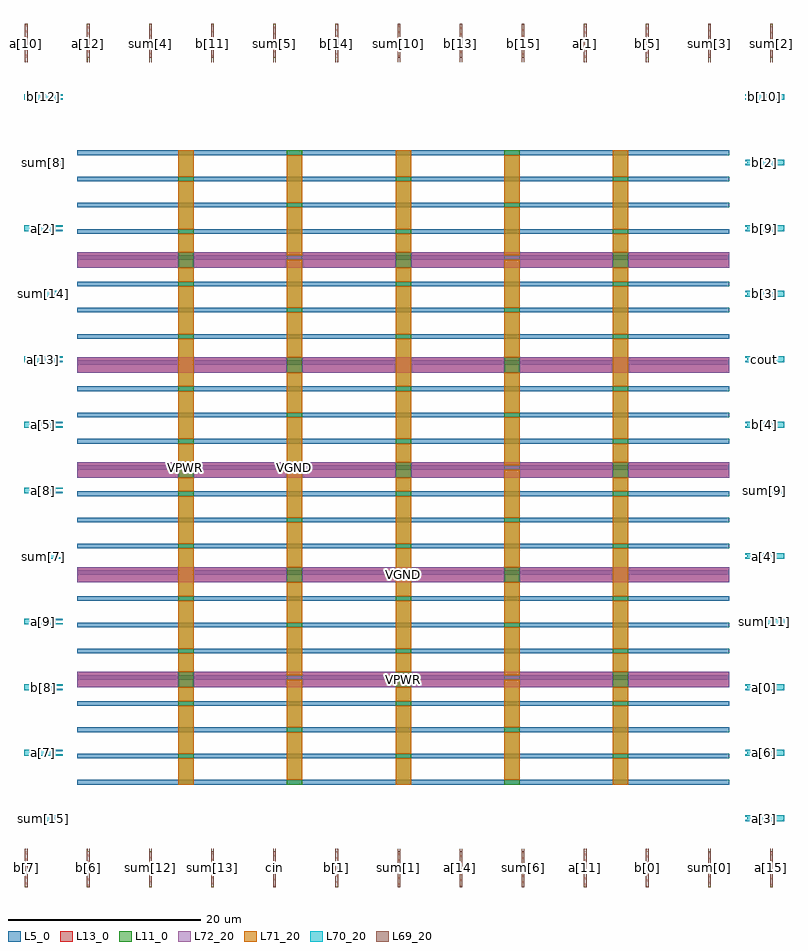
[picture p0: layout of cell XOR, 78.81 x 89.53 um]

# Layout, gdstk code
import gdstk
lib = gdstk.Library(unit=1e-6, precision=1e-09)
def R(c, l, rs):  # rectangles x0, y0, x1, y1
    for r in rs: c.add(gdstk.rectangle(r[:2], r[2:], *l))
def A(c, l, x, y, w, h, nx, ny, dx, dy):  # array of equal rectangles
    R(c, l, [(x+i*dx, y+j*dy, x+i*dx+w, y+j*dy+h) for i in range(nx) for j in range(ny)])
def P(c, l, *ps):  # polygons
    for p in ps: c.add(gdstk.Polygon(p, *l))
L5_0 = (5, 0)
L11_0 = (11, 0)
L13_0 = (13, 0)
L69_20 = (69, 20)
L70_20 = (70, 20)
L71_20 = (71, 20)
L72_20 = (72, 20)

xor = lib.new_cell('XOR')
P(xor, L69_20, [(0.09,0),(0.09,4),(0.16,4),(0.16,3.74),(0.3,3.74),(0.3,4),(0.37,4),(0.37,0)],
  [(6.53,0),(6.53,4),(6.6,4),(6.6,3.74),(6.74,3.74),(6.74,4),(6.81,4),(6.81,0)],
  [(12.97,0),(12.97,4),(13.04,4),(13.04,3.74),(13.18,3.74),(13.18,4),(13.25,4),(13.25,0)],
  [(19.41,0),(19.41,4),(19.48,4),(19.48,3.74),(19.62,3.74),(19.62,4),(19.69,4),(19.69,0)],
  [(25.85,0),(25.85,4),(25.92,4),(25.92,3.74),(26.06,3.74),(26.06,4),(26.13,4),(26.13,0)],
  [(32.29,0),(32.29,4),(32.36,4),(32.36,3.74),(32.5,3.74),(32.5,4),(32.57,4),(32.57,0)],
  [(38.73,0),(38.73,4),(38.8,4),(38.8,3.74),(38.94,3.74),(38.94,4),(39.01,4),(39.01,0)],
  [(45.17,0),(45.17,4),(45.24,4),(45.24,3.74),(45.38,3.74),(45.38,4),(45.45,4),(45.45,0)],
  [(51.61,0),(51.61,4),(51.68,4),(51.68,3.74),(51.82,3.74),(51.82,4),(51.89,4),(51.89,0)],
  [(58.05,0),(58.05,4),(58.12,4),(58.12,3.74),(58.26,3.74),(58.26,4),(58.33,4),(58.33,0)],
  [(64.49,0),(64.49,4),(64.56,4),(64.56,3.74),(64.7,3.74),(64.7,4),(64.77,4),(64.77,0)],
  [(70.93,0),(70.93,4),(71,4),(71,3.74),(71.14,3.74),(71.14,4),(71.21,4),(71.21,0)],
  [(77.37,0),(77.37,4),(77.44,4),(77.44,3.74),(77.58,3.74),(77.58,4),(77.65,4),(77.65,0)],
  [(0.09,85.525),(0.09,89.525),(0.37,89.525),(0.37,85.525),(0.3,85.525),(0.3,86.02),(0.16,86.02),(0.16,85.525)],
  [(6.53,85.525),(6.53,89.525),(6.81,89.525),(6.81,85.525),(6.74,85.525),(6.74,86.02),(6.6,86.02),(6.6,85.525)],
  [(12.97,85.525),(12.97,89.525),(13.25,89.525),(13.25,85.525),(13.18,85.525),(13.18,86.02),(13.04,86.02),(13.04,85.525)],
  [(19.41,85.525),(19.41,89.525),(19.69,89.525),(19.69,85.525),(19.62,85.525),(19.62,86.02),(19.48,86.02),(19.48,85.525)],
  [(25.85,85.525),(25.85,89.525),(26.13,89.525),(26.13,85.525),(26.06,85.525),(26.06,86.02),(25.92,86.02),(25.92,85.525)],
  [(32.29,85.525),(32.29,89.525),(32.57,89.525),(32.57,85.525),(32.5,85.525),(32.5,86.02),(32.36,86.02),(32.36,85.525)],
  [(38.73,85.525),(38.73,89.525),(39.01,89.525),(39.01,85.525),(38.94,85.525),(38.94,86.02),(38.8,86.02),(38.8,85.525)],
  [(45.17,85.525),(45.17,89.525),(45.45,89.525),(45.45,85.525),(45.38,85.525),(45.38,86.02),(45.24,86.02),(45.24,85.525)],
  [(51.61,85.525),(51.61,89.525),(51.89,89.525),(51.89,85.525),(51.82,85.525),(51.82,86.02),(51.68,86.02),(51.68,85.525)],
  [(58.05,85.525),(58.05,89.525),(58.33,89.525),(58.33,85.525),(58.26,85.525),(58.26,86.02),(58.12,86.02),(58.12,85.525)],
  [(64.49,85.525),(64.49,89.525),(64.77,89.525),(64.77,85.525),(64.7,85.525),(64.7,86.02),(64.56,86.02),(64.56,85.525)],
  [(70.93,85.525),(70.93,89.525),(71.21,89.525),(71.21,85.525),(71.14,85.525),(71.14,86.02),(71,86.02),(71,85.525)],
  [(77.37,85.525),(77.37,89.525),(77.65,89.525),(77.65,85.525),(77.58,85.525),(77.58,86.02),(77.44,86.02),(77.44,85.525)])
P(xor, L70_20, [(0,6.84),(0,7.44),(4,7.44),(4,7.29),(3.22,7.29),(3.22,6.99),(4,6.99),(4,6.84)],
  [(74.805,6.84),(74.805,6.99),(74.98,6.99),(74.98,7.29),(74.805,7.29),(74.805,7.44),(78.805,7.44),(78.805,6.84)],
  [(0,13.64),(0,14.24),(4,14.24),(4,14.09),(3.22,14.09),(3.22,13.79),(4,13.79),(4,13.64)],
  [(74.805,13.64),(74.805,13.79),(74.98,13.79),(74.98,14.09),(74.805,14.09),(74.805,14.24),(78.805,14.24),(78.805,13.64)],
  [(0,20.44),(0,21.04),(4,21.04),(4,20.89),(3.22,20.89),(3.22,20.59),(4,20.59),(4,20.44)],
  [(74.805,20.44),(74.805,20.59),(74.98,20.59),(74.98,20.89),(74.805,20.89),(74.805,21.04),(78.805,21.04),(78.805,20.44)],
  [(0,27.24),(0,27.84),(4,27.84),(4,27.69),(3.22,27.69),(3.22,27.39),(4,27.39),(4,27.24)],
  [(74.805,27.24),(74.805,27.39),(74.98,27.39),(74.98,27.69),(74.805,27.69),(74.805,27.84),(78.805,27.84),(78.805,27.24)],
  [(0,34.04),(0,34.64),(4,34.64),(4,34.49),(3.22,34.49),(3.22,34.19),(4,34.19),(4,34.04)],
  [(74.805,34.04),(74.805,34.19),(74.98,34.19),(74.98,34.49),(74.805,34.49),(74.805,34.64),(78.805,34.64),(78.805,34.04)],
  [(0,40.84),(0,41.44),(4,41.44),(4,41.29),(3.22,41.29),(3.22,40.99),(4,40.99),(4,40.84)],
  [(74.805,40.84),(74.805,40.99),(74.98,40.99),(74.98,41.29),(74.805,41.29),(74.805,41.44),(78.805,41.44),(78.805,40.84)],
  [(0,47.64),(0,48.24),(4,48.24),(4,48.09),(3.22,48.09),(3.22,47.79),(4,47.79),(4,47.64)],
  [(74.805,47.64),(74.805,47.79),(74.98,47.79),(74.98,48.09),(74.805,48.09),(74.805,48.24),(78.805,48.24),(78.805,47.64)],
  [(0,54.44),(0,55.04),(4,55.04),(4,54.89),(3.22,54.89),(3.22,54.59),(4,54.59),(4,54.44)],
  [(74.805,54.44),(74.805,54.59),(74.98,54.59),(74.98,54.89),(74.805,54.89),(74.805,55.04),(78.805,55.04),(78.805,54.44)],
  [(0,61.24),(0,61.84),(4,61.84),(4,61.69),(3.22,61.69),(3.22,61.39),(4,61.39),(4,61.24)],
  [(74.805,61.24),(74.805,61.39),(74.98,61.39),(74.98,61.69),(74.805,61.69),(74.805,61.84),(78.805,61.84),(78.805,61.24)],
  [(0,68.04),(0,68.64),(4,68.64),(4,68.49),(3.22,68.49),(3.22,68.19),(4,68.19),(4,68.04)],
  [(74.805,68.04),(74.805,68.19),(74.98,68.19),(74.98,68.49),(74.805,68.49),(74.805,68.64),(78.805,68.64),(78.805,68.04)],
  [(0,74.84),(0,75.44),(4,75.44),(4,75.29),(3.22,75.29),(3.22,74.99),(4,74.99),(4,74.84)],
  [(74.805,74.84),(74.805,74.99),(74.98,74.99),(74.98,75.29),(74.805,75.29),(74.805,75.44),(78.805,75.44),(78.805,74.84)],
  [(0,81.64),(0,82.24),(4,82.24),(4,82.09),(3.22,82.09),(3.22,81.79),(4,81.79),(4,81.64)],
  [(74.805,81.64),(74.805,81.79),(74.98,81.79),(74.98,82.09),(74.805,82.09),(74.805,82.24),(78.805,82.24),(78.805,81.64)])
A(xor, L71_20, 15.99, 10.64, 1.6, 2.72, 3, 2, 22.54, 63.04)
A(xor, L71_20, 27.26, 11.12, 1.6, 4.96, 1, 3, 0, 5.44)
A(xor, L71_20, 49.8, 11.12, 1.6, 4.96, 1, 3, 0, 5.44)
A(xor, L71_20, 15.99, 13.84, 1.6, 4.96, 3, 2, 22.54, 10.88)
A(xor, L71_20, 15.99, 19.28, 1.6, 1.44, 3, 3, 22.54, 21.76)
A(xor, L71_20, 15.99, 22.32, 1.6, 1.92, 3, 3, 22.54, 21.76)
A(xor, L71_20, 15.99, 30.16, 1.6, 4.96, 3, 2, 22.54, 5.44)
A(xor, L71_20, 15.99, 46.48, 1.6, 4.96, 3, 3, 22.54, 5.44)
A(xor, L71_20, 27.26, 60.08, 1.6, 4.96, 1, 3, 0, 5.44)
A(xor, L71_20, 49.8, 60.08, 1.6, 4.96, 1, 3, 0, 5.44)
A(xor, L71_20, 15.99, 68.24, 1.6, 4.96, 3, 1, 22.54, 0)
R(xor, L71_20, [(27.26,27.44,28.86,31.6), (49.8,27.44,51.4,31.6), (27.26,33.2,28.86,37.84), (49.8,33.2,51.4,37.84), (27.26,38.32,28.86,43.28), (49.8,38.32,51.4,43.28), (27.26,43.76,28.86,48.72), (49.8,43.76,51.4,48.72), (27.26,49.2,28.86,53.36), (49.8,49.2,51.4,53.36), (27.26,54.96,28.86,59.6), (49.8,54.96,51.4,59.6)])
A(xor, L72_20, 5.52, 20.72, 10.47, 1.6, 1, 3, 0, 21.76)
A(xor, L72_20, 17.59, 20.72, 20.94, 1.6, 1, 3, 0, 21.76)
A(xor, L72_20, 40.13, 20.72, 20.94, 1.6, 1, 3, 0, 21.76)
A(xor, L72_20, 62.67, 20.72, 10.47, 1.6, 1, 3, 0, 21.76)
R(xor, L72_20, [(5.52,31.6,27.26,33.2), (28.86,31.6,49.8,33.2), (51.4,31.6,73.14,33.2), (5.52,53.36,27.26,54.96), (28.86,53.36,49.8,54.96), (51.4,53.36,73.14,54.96)])
xor.add(gdstk.FlexPath([(50.6,10.64),(50.6,76.4)], 1.6, ends="flush", simple_path=True, layer=11, datatype=0))  # L11_0
xor.add(gdstk.FlexPath([(28.06,10.64),(28.06,76.4)], 1.6, ends="flush", simple_path=True, layer=11, datatype=0))  # L11_0
xor.add(gdstk.FlexPath([(61.87,10.64),(61.87,76.4)], 1.6, ends="flush", simple_path=True, layer=11, datatype=0))  # L11_0
xor.add(gdstk.FlexPath([(39.33,10.64),(39.33,76.4)], 1.6, ends="flush", simple_path=True, layer=11, datatype=0))  # L11_0
xor.add(gdstk.FlexPath([(16.79,10.64),(16.79,76.4)], 1.6, ends="flush", simple_path=True, layer=11, datatype=0))  # L11_0
xor.add(gdstk.FlexPath([(5.52,54.16),(73.14,54.16)], 1.6, ends="flush", simple_path=True, layer=13, datatype=0))  # L13_0
xor.add(gdstk.FlexPath([(5.52,32.4),(73.14,32.4)], 1.6, ends="flush", simple_path=True, layer=13, datatype=0))  # L13_0
xor.add(gdstk.FlexPath([(5.52,65.04),(73.14,65.04)], 1.6, ends="flush", simple_path=True, layer=13, datatype=0))  # L13_0
xor.add(gdstk.FlexPath([(5.52,43.28),(73.14,43.28)], 1.6, ends="flush", simple_path=True, layer=13, datatype=0))  # L13_0
xor.add(gdstk.FlexPath([(5.52,21.52),(73.14,21.52)], 1.6, ends="flush", simple_path=True, layer=13, datatype=0))  # L13_0
xor.add(gdstk.FlexPath([(5.52,76.16),(73.14,76.16)], 0.48, ends="flush", simple_path=True, layer=5, datatype=0))  # L5_0
xor.add(gdstk.FlexPath([(5.52,70.72),(73.14,70.72)], 0.48, ends="flush", simple_path=True, layer=5, datatype=0))  # L5_0
xor.add(gdstk.FlexPath([(5.52,65.28),(73.14,65.28)], 0.48, ends="flush", simple_path=True, layer=5, datatype=0))  # L5_0
xor.add(gdstk.FlexPath([(5.52,59.84),(73.14,59.84)], 0.48, ends="flush", simple_path=True, layer=5, datatype=0))  # L5_0
xor.add(gdstk.FlexPath([(5.52,54.4),(73.14,54.4)], 0.48, ends="flush", simple_path=True, layer=5, datatype=0))  # L5_0
xor.add(gdstk.FlexPath([(5.52,48.96),(73.14,48.96)], 0.48, ends="flush", simple_path=True, layer=5, datatype=0))  # L5_0
xor.add(gdstk.FlexPath([(5.52,43.52),(73.14,43.52)], 0.48, ends="flush", simple_path=True, layer=5, datatype=0))  # L5_0
xor.add(gdstk.FlexPath([(5.52,38.08),(73.14,38.08)], 0.48, ends="flush", simple_path=True, layer=5, datatype=0))  # L5_0
xor.add(gdstk.FlexPath([(5.52,32.64),(73.14,32.64)], 0.48, ends="flush", simple_path=True, layer=5, datatype=0))  # L5_0
xor.add(gdstk.FlexPath([(5.52,27.2),(73.14,27.2)], 0.48, ends="flush", simple_path=True, layer=5, datatype=0))  # L5_0
xor.add(gdstk.FlexPath([(5.52,21.76),(73.14,21.76)], 0.48, ends="flush", simple_path=True, layer=5, datatype=0))  # L5_0
xor.add(gdstk.FlexPath([(5.52,16.32),(73.14,16.32)], 0.48, ends="flush", simple_path=True, layer=5, datatype=0))  # L5_0
xor.add(gdstk.FlexPath([(5.52,10.88),(73.14,10.88)], 0.48, ends="flush", simple_path=True, layer=5, datatype=0))  # L5_0
xor.add(gdstk.FlexPath([(5.52,73.44),(73.14,73.44)], 0.48, ends="flush", simple_path=True, layer=5, datatype=0))  # L5_0
xor.add(gdstk.FlexPath([(5.52,68),(73.14,68)], 0.48, ends="flush", simple_path=True, layer=5, datatype=0))  # L5_0
xor.add(gdstk.FlexPath([(5.52,62.56),(73.14,62.56)], 0.48, ends="flush", simple_path=True, layer=5, datatype=0))  # L5_0
xor.add(gdstk.FlexPath([(5.52,57.12),(73.14,57.12)], 0.48, ends="flush", simple_path=True, layer=5, datatype=0))  # L5_0
xor.add(gdstk.FlexPath([(5.52,51.68),(73.14,51.68)], 0.48, ends="flush", simple_path=True, layer=5, datatype=0))  # L5_0
xor.add(gdstk.FlexPath([(5.52,46.24),(73.14,46.24)], 0.48, ends="flush", simple_path=True, layer=5, datatype=0))  # L5_0
xor.add(gdstk.FlexPath([(5.52,40.8),(73.14,40.8)], 0.48, ends="flush", simple_path=True, layer=5, datatype=0))  # L5_0
xor.add(gdstk.FlexPath([(5.52,35.36),(73.14,35.36)], 0.48, ends="flush", simple_path=True, layer=5, datatype=0))  # L5_0
xor.add(gdstk.FlexPath([(5.52,29.92),(73.14,29.92)], 0.48, ends="flush", simple_path=True, layer=5, datatype=0))  # L5_0
xor.add(gdstk.FlexPath([(5.52,24.48),(73.14,24.48)], 0.48, ends="flush", simple_path=True, layer=5, datatype=0))  # L5_0
xor.add(gdstk.FlexPath([(5.52,19.04),(73.14,19.04)], 0.48, ends="flush", simple_path=True, layer=5, datatype=0))  # L5_0
xor.add(gdstk.FlexPath([(5.52,13.6),(73.14,13.6)], 0.48, ends="flush", simple_path=True, layer=5, datatype=0))  # L5_0
xor.add(gdstk.Label('a[10]', (0.23,87.525), layer=69, texttype=5))
xor.add(gdstk.Label('a[11]', (58.19,2), layer=69, texttype=5))
xor.add(gdstk.Label('a[12]', (6.67,87.525), layer=69, texttype=5))
xor.add(gdstk.Label('a[14]', (45.31,2), layer=69, texttype=5))
xor.add(gdstk.Label('a[15]', (77.51,2), layer=69, texttype=5))
xor.add(gdstk.Label('a[1]', (58.19,87.525), layer=69, texttype=5))
xor.add(gdstk.Label('b[0]', (64.63,2), layer=69, texttype=5))
xor.add(gdstk.Label('b[11]', (19.55,87.525), layer=69, texttype=5))
xor.add(gdstk.Label('b[13]', (45.31,87.525), layer=69, texttype=5))
xor.add(gdstk.Label('b[14]', (32.43,87.525), layer=69, texttype=5))
xor.add(gdstk.Label('b[15]', (51.75,87.525), layer=69, texttype=5))
xor.add(gdstk.Label('b[1]', (32.43,2), layer=69, texttype=5))
xor.add(gdstk.Label('b[5]', (64.63,87.525), layer=69, texttype=5))
xor.add(gdstk.Label('b[6]', (6.67,2), layer=69, texttype=5))
xor.add(gdstk.Label('b[7]', (0.23,2), layer=69, texttype=5))
xor.add(gdstk.Label('cin', (25.99,2), layer=69, texttype=5))
xor.add(gdstk.Label('sum[0]', (71.07,2), layer=69, texttype=5))
xor.add(gdstk.Label('sum[10]', (38.87,87.525), layer=69, texttype=5))
xor.add(gdstk.Label('sum[12]', (13.11,2), layer=69, texttype=5))
xor.add(gdstk.Label('sum[13]', (19.55,2), layer=69, texttype=5))
xor.add(gdstk.Label('sum[1]', (38.87,2), layer=69, texttype=5))
xor.add(gdstk.Label('sum[2]', (77.51,87.525), layer=69, texttype=5))
xor.add(gdstk.Label('sum[3]', (71.07,87.525), layer=69, texttype=5))
xor.add(gdstk.Label('sum[4]', (13.11,87.525), layer=69, texttype=5))
xor.add(gdstk.Label('sum[5]', (25.99,87.525), layer=69, texttype=5))
xor.add(gdstk.Label('sum[6]', (51.75,2), layer=69, texttype=5))
xor.add(gdstk.Label('a[0]', (76.805,20.74), layer=70, texttype=5))
xor.add(gdstk.Label('a[13]', (2,54.74), layer=70, texttype=5))
xor.add(gdstk.Label('a[2]', (2,68.34), layer=70, texttype=5))
xor.add(gdstk.Label('a[3]', (76.805,7.14), layer=70, texttype=5))
xor.add(gdstk.Label('a[4]', (76.805,34.34), layer=70, texttype=5))
xor.add(gdstk.Label('a[5]', (2,47.94), layer=70, texttype=5))
xor.add(gdstk.Label('a[6]', (76.805,13.94), layer=70, texttype=5))
xor.add(gdstk.Label('a[7]', (2,13.94), layer=70, texttype=5))
xor.add(gdstk.Label('a[8]', (2,41.14), layer=70, texttype=5))
xor.add(gdstk.Label('a[9]', (2,27.54), layer=70, texttype=5))
xor.add(gdstk.Label('b[10]', (76.805,81.94), layer=70, texttype=5))
xor.add(gdstk.Label('b[12]', (2,81.94), layer=70, texttype=5))
xor.add(gdstk.Label('b[2]', (76.805,75.14), layer=70, texttype=5))
xor.add(gdstk.Label('b[3]', (76.805,61.54), layer=70, texttype=5))
xor.add(gdstk.Label('b[4]', (76.805,47.94), layer=70, texttype=5))
xor.add(gdstk.Label('b[8]', (2,20.74), layer=70, texttype=5))
xor.add(gdstk.Label('b[9]', (76.805,68.34), layer=70, texttype=5))
xor.add(gdstk.Label('cout', (76.805,54.74), layer=70, texttype=5))
xor.add(gdstk.Label('sum[11]', (76.805,27.54), layer=70, texttype=5))
xor.add(gdstk.Label('sum[14]', (2,61.54), layer=70, texttype=5))
xor.add(gdstk.Label('sum[15]', (2,7.14), layer=70, texttype=5))
xor.add(gdstk.Label('sum[7]', (2,34.34), layer=70, texttype=5))
xor.add(gdstk.Label('sum[8]', (2,75.14), layer=70, texttype=5))
xor.add(gdstk.Label('sum[9]', (76.805,41.14), layer=70, texttype=5))
xor.add(gdstk.Label('VGND', (28.06,43.52), layer=71, texttype=5))
xor.add(gdstk.Label('VPWR', (16.79,43.52), layer=71, texttype=5))
xor.add(gdstk.Label('VGND', (39.33,32.4), layer=72, texttype=5))
xor.add(gdstk.Label('VPWR', (39.33,21.52), layer=72, texttype=5))

lib.write_gds('XOR.gds')
